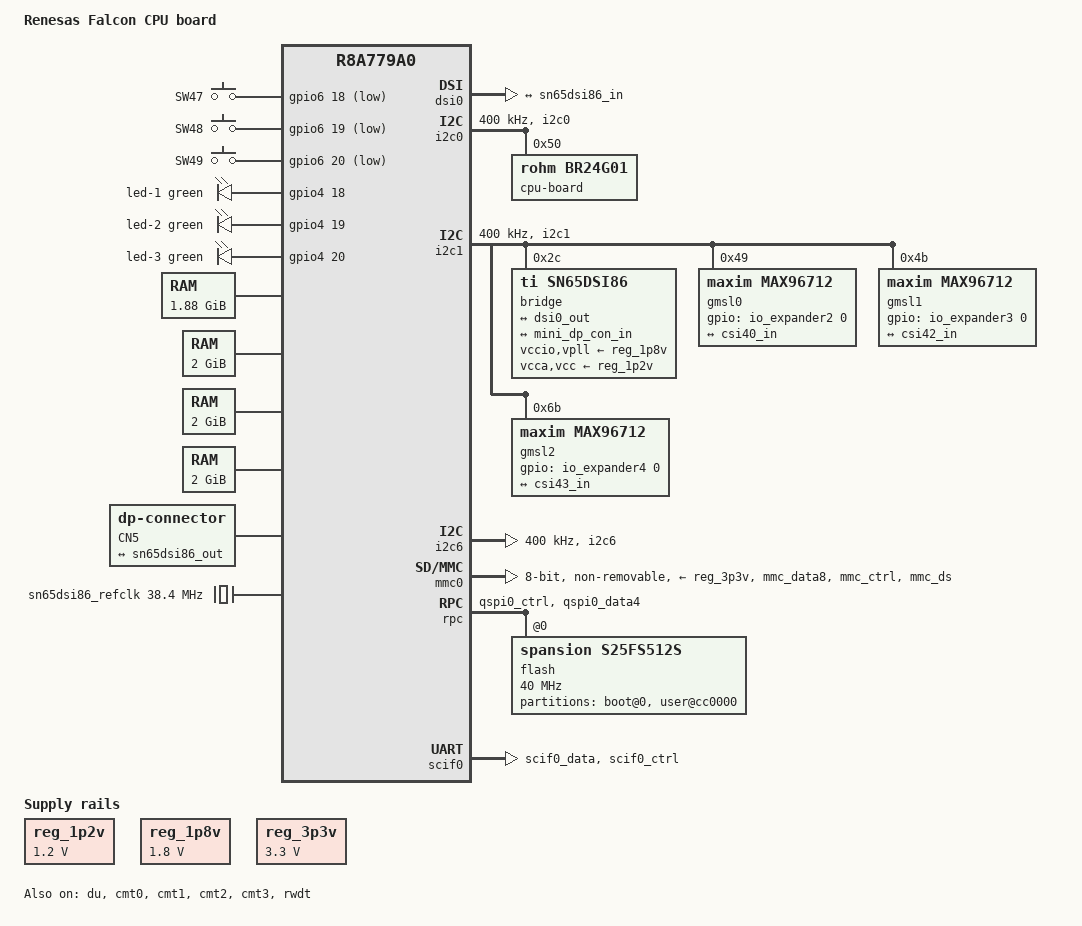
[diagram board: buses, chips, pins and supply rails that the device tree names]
// SPDX-License-Identifier: GPL-2.0
/*
 * Device Tree Source for the Falcon CPU board
 *
 * Copyright (C) 2020 Renesas Electronics Corp.
 */

#include <dt-bindings/gpio/gpio.h>
#include <dt-bindings/input/input.h>
#include <dt-bindings/leds/common.h>

#include "r8a779a0.dtsi"

/ {
	model = "Renesas Falcon CPU board";
	compatible = "renesas,falcon-cpu", "renesas,r8a779a0";

	aliases {
		i2c0 = &i2c0;
		i2c1 = &i2c1;
		i2c2 = &i2c2;
		i2c3 = &i2c3;
		i2c4 = &i2c4;
		i2c5 = &i2c5;
		i2c6 = &i2c6;
		serial0 = &scif0;
	};

	chosen {
		stdout-path = "serial0:115200n8";
	};

	keys {
		compatible = "gpio-keys";

		pinctrl-0 = <&keys_pins>;
		pinctrl-names = "default";

		key-1 {
			gpios = <&gpio6 18 GPIO_ACTIVE_LOW>;
			linux,code = <KEY_1>;
			label = "SW47";
			wakeup-source;
			debounce-interval = <20>;
		};

		key-2 {
			gpios = <&gpio6 19 GPIO_ACTIVE_LOW>;
			linux,code = <KEY_2>;
			label = "SW48";
			wakeup-source;
			debounce-interval = <20>;
		};

		key-3 {
			gpios = <&gpio6 20 GPIO_ACTIVE_LOW>;
			linux,code = <KEY_3>;
			label = "SW49";
			wakeup-source;
			debounce-interval = <20>;
		};
	};

	leds {
		compatible = "gpio-leds";

		led-1 {
			gpios = <&gpio4 18 GPIO_ACTIVE_HIGH>;
			color = <LED_COLOR_ID_GREEN>;
			function = LED_FUNCTION_INDICATOR;
			function-enumerator = <1>;
		};
		led-2 {
			gpios = <&gpio4 19 GPIO_ACTIVE_HIGH>;
			color = <LED_COLOR_ID_GREEN>;
			function = LED_FUNCTION_INDICATOR;
			function-enumerator = <2>;
		};
		led-3 {
			gpios = <&gpio4 20 GPIO_ACTIVE_HIGH>;
			color = <LED_COLOR_ID_GREEN>;
			function = LED_FUNCTION_INDICATOR;
			function-enumerator = <3>;
		};
	};

	memory@48000000 {
		device_type = "memory";
		/* first 128MB is reserved for secure area. */
		reg = <0x0 0x48000000 0x0 0x78000000>;
	};

	memory@500000000 {
		device_type = "memory";
		reg = <0x5 0x00000000 0x0 0x80000000>;
	};

	memory@600000000 {
		device_type = "memory";
		reg = <0x6 0x00000000 0x0 0x80000000>;
	};

	memory@700000000 {
		device_type = "memory";
		reg = <0x7 0x00000000 0x0 0x80000000>;
	};

	reserved-memory {
		#address-cells = <2>;
		#size-cells = <2>;
		ranges;

		/* global autoconfigured region for contiguous allocations */
		linux,cma@58000000 {
			compatible = "shared-dma-pool";
			reusable;
			reg = <0x00000000 0x58000000 0x0 0x18000000>;
			linux,cma-default;
		};
	};

	mini-dp-con {
		compatible = "dp-connector";
		label = "CN5";
		type = "mini";

		port {
			mini_dp_con_in: endpoint {
				remote-endpoint = <&sn65dsi86_out>;
			};
		};
	};

	reg_1p2v: regulator-1p2v {
		compatible = "regulator-fixed";
		regulator-name = "fixed-1.2V";
		regulator-min-microvolt = <1200000>;
		regulator-max-microvolt = <1200000>;
		regulator-boot-on;
		regulator-always-on;
	};

	reg_1p8v: regulator-1p8v {
		compatible = "regulator-fixed";
		regulator-name = "fixed-1.8V";
		regulator-min-microvolt = <1800000>;
		regulator-max-microvolt = <1800000>;
		regulator-boot-on;
		regulator-always-on;
	};

	reg_3p3v: regulator-3p3v {
		compatible = "regulator-fixed";
		regulator-name = "fixed-3.3V";
		regulator-min-microvolt = <3300000>;
		regulator-max-microvolt = <3300000>;
		regulator-boot-on;
		regulator-always-on;
	};

	sn65dsi86_refclk: clk-x6 {
		compatible = "fixed-clock";
		#clock-cells = <0>;
		clock-frequency = <38400000>;
	};
};

&dsi0 {
	status = "okay";

	ports {
		port@1 {
			dsi0_out: endpoint {
				remote-endpoint = <&sn65dsi86_in>;
				data-lanes = <1 2 3 4>;
			};
		};
	};
};

&du {
	status = "okay";
};

&extal_clk {
	clock-frequency = <16666666>;
};

&extalr_clk {
	clock-frequency = <32768>;
};

&i2c0 {
	pinctrl-0 = <&i2c0_pins>;
	pinctrl-names = "default";

	status = "okay";
	clock-frequency = <400000>;

	eeprom@50 {
		compatible = "rohm,br24g01", "atmel,24c01";
		label = "cpu-board";
		reg = <0x50>;
		pagesize = <8>;
	};
};

&i2c1 {
	pinctrl-0 = <&i2c1_pins>;
	pinctrl-names = "default";

	status = "okay";
	clock-frequency = <400000>;

	bridge@2c {
		pinctrl-0 = <&irq0_pins>;
		pinctrl-names = "default";

		compatible = "ti,sn65dsi86";
		reg = <0x2c>;

		clocks = <&sn65dsi86_refclk>;
		clock-names = "refclk";

		interrupt-parent = <&intc_ex>;
		interrupts = <0 IRQ_TYPE_LEVEL_HIGH>;

		vccio-supply = <&reg_1p8v>;
		vpll-supply = <&reg_1p8v>;
		vcca-supply = <&reg_1p2v>;
		vcc-supply = <&reg_1p2v>;

		ports {
			#address-cells = <1>;
			#size-cells = <0>;

			port@0 {
				reg = <0>;
				sn65dsi86_in: endpoint {
					remote-endpoint = <&dsi0_out>;
				};
			};

			port@1 {
				reg = <1>;
				sn65dsi86_out: endpoint {
					remote-endpoint = <&mini_dp_con_in>;
				};
			};
		};
	};

	gmsl0: gmsl-deserializer@49 {
		gpio-controller;
		#gpio-cells = <2>;

		compatible = "maxim,max96712";
		reg = <0x49>, <0x01>, <0x02>, <0x03>, <0x04>;
		gpios = <&io_expander2 0 GPIO_ACTIVE_HIGH>;

		ports {
			#address-cells = <1>;
			#size-cells = <0>;

			port@0 {
				reg = <0>;
				max96712_in0: endpoint {
				};
			};

			port@1 {
				reg = <1>;
				max96712_in1: endpoint {
				};
			};

			port@2 {
				reg = <2>;
				max96712_in2: endpoint {
				};
			};

			port@3 {
				reg = <3>;
				max96712_in3: endpoint {
				};
			};

			port@4 {
				reg = <4>;
				max96712_out0: endpoint {
					clock-lanes = <0>;
					data-lanes = <1 2 3 4>;
					remote-endpoint = <&csi40_in>;
				};
			};
		};

		i2c-mux {
			#address-cells = <1>;
			#size-cells = <0>;

			i2c@0 {
				#address-cells = <1>;
				#size-cells = <0>;
				reg = <0>;

				status = "disabled";
			};

			i2c@1 {
				#address-cells = <1>;
				#size-cells = <0>;
				reg = <1>;

				status = "disabled";
			};

			i2c@2 {
				#address-cells = <1>;
				#size-cells = <0>;
				reg = <2>;

				status = "disabled";
			};

			i2c@3 {
				#address-cells = <1>;
				#size-cells = <0>;
				reg = <3>;

				status = "disabled";
			};
		};
	};

	gmsl1: gmsl-deserializer@4b {
		gpio-controller;
		#gpio-cells = <2>;

		compatible = "maxim,max96712";
		reg = <0x4b>, <0x05>, <0x06>, <0x07>, <0x08>;
		gpios = <&io_expander3 0 GPIO_ACTIVE_HIGH>;
		maxim,invert_phy-pol;

		ports {
			#address-cells = <1>;
			#size-cells = <0>;

			port@0 {
				reg = <0>;
				max96712_in4: endpoint {
				};
			};

			port@1 {
				reg = <1>;
				max96712_in5: endpoint {
				};
			};

			port@2 {
				reg = <2>;
				max96712_in6: endpoint {
				};
			};

			port@3 {
				reg = <3>;
				max96712_in7: endpoint {
				};
			};

			port@4 {
				reg = <4>;
				max96712_out1: endpoint {
					clock-lanes = <0>;
					data-lanes = <1 2 3 4>;
					remote-endpoint = <&csi42_in>;
				};
			};
		};

		i2c-mux {
			#address-cells = <1>;
			#size-cells = <0>;

			i2c@0 {
				#address-cells = <1>;
				#size-cells = <0>;
				reg = <0>;

				status = "disabled";
			};

			i2c@1 {
				#address-cells = <1>;
				#size-cells = <0>;
				reg = <1>;

				status = "disabled";
			};

			i2c@2 {
				#address-cells = <1>;
				#size-cells = <0>;
				reg = <2>;

				status = "disabled";
			};

			i2c@3 {
				#address-cells = <1>;
				#size-cells = <0>;
				reg = <3>;

				status = "disabled";
			};
		};
	};

	gmsl2: gmsl-deserializer@6b {
		gpio-controller;
		#gpio-cells = <2>;

		compatible = "maxim,max96712";
		reg = <0x6b>, <0x09>, <0x0a>, <0x0b>, <0x0c>;
		gpios = <&io_expander4 0 GPIO_ACTIVE_HIGH>;
		maxim,invert_phy-pol;

		ports {
			#address-cells = <1>;
			#size-cells = <0>;

			port@0 {
				reg = <0>;
				max96712_in8: endpoint {
				};
			};

			port@1 {
				reg = <1>;
				max96712_in9: endpoint {
				};
			};

			port@2 {
				reg = <2>;
				max96712_in10: endpoint {
				};
			};

			port@3 {
				reg = <3>;
				max96712_in11: endpoint {
				};
			};

			port@4 {
				reg = <4>;
				max96712_out2: endpoint {
					clock-lanes = <0>;
					data-lanes = <1 2 3 4>;
					remote-endpoint = <&csi43_in>;
				};
			};
		};

		i2c-mux {
			#address-cells = <1>;
			#size-cells = <0>;

			i2c@0 {
				#address-cells = <1>;
				#size-cells = <0>;
				reg = <0>;

				status = "disabled";
			};

			i2c@1 {
				#address-cells = <1>;
				#size-cells = <0>;
				reg = <1>;

				status = "disabled";
			};

			i2c@2 {
				#address-cells = <1>;
				#size-cells = <0>;
				reg = <2>;

				status = "disabled";
			};

			i2c@3 {
				#address-cells = <1>;
				#size-cells = <0>;
				reg = <3>;

				status = "disabled";
			};
		};
	};
};

&i2c6 {
	pinctrl-0 = <&i2c6_pins>;
	pinctrl-names = "default";

	status = "okay";
	clock-frequency = <400000>;
};

&mmc0 {
	pinctrl-0 = <&mmc_pins>;
	pinctrl-1 = <&mmc_pins>;
	pinctrl-names = "default", "state_uhs";

	iommus = <&ipmmu_ds0 32>;

	vmmc-supply = <&reg_3p3v>;
	vqmmc-supply = <&reg_1p8v>;
	mmc-hs200-1_8v;
	mmc-hs400-1_8v;
	bus-width = <8>;
	no-sd;
	no-sdio;
	non-removable;
	full-pwr-cycle-in-suspend;
	status = "okay";
};

&pfc {
	pinctrl-0 = <&scif_clk_pins>;
	pinctrl-names = "default";

	i2c0_pins: i2c0 {
		groups = "i2c0";
		function = "i2c0";
	};

	i2c1_pins: i2c1 {
		groups = "i2c1";
		function = "i2c1";
	};

	i2c6_pins: i2c6 {
		groups = "i2c6";
		function = "i2c6";
	};

	irq0_pins: irq0 {
		groups = "intc_ex_irq0";
		function = "intc_ex";
	};

	keys_pins: keys {
		pins = "GP_6_18", "GP_6_19", "GP_6_20";
		bias-pull-up;
	};

	mmc_pins: mmc {
		groups = "mmc_data8", "mmc_ctrl", "mmc_ds";
		function = "mmc";
		power-source = <1800>;
	};

	qspi0_pins: qspi0 {
		groups = "qspi0_ctrl", "qspi0_data4";
		function = "qspi0";
	};

	scif0_pins: scif0 {
		groups = "scif0_data", "scif0_ctrl";
		function = "scif0";
	};

	scif_clk_pins: scif_clk {
		groups = "scif_clk";
		function = "scif_clk";
	};
};

&rpc {
	pinctrl-0 = <&qspi0_pins>;
	pinctrl-names = "default";

	status = "okay";

	flash@0 {
		compatible = "spansion,s25fs512s", "jedec,spi-nor";
		reg = <0>;
		spi-max-frequency = <40000000>;
		spi-rx-bus-width = <4>;

		partitions {
			compatible = "fixed-partitions";
			#address-cells = <1>;
			#size-cells = <1>;

			boot@0 {
				reg = <0x0 0xcc0000>;
				read-only;
			};
			user@cc0000 {
				reg = <0xcc0000 0x3340000>;
			};
		};
	};
};

&cmt0 {
	status = "okay";
};

&cmt1 {
	status = "okay";
};

&cmt2 {
	status = "okay";
};

&cmt3 {
	status = "okay";
};

&rwdt {
	timeout-sec = <60>;
	status = "okay";
};

&scif0 {
	pinctrl-0 = <&scif0_pins>;
	pinctrl-names = "default";

	uart-has-rtscts;
	status = "okay";
};

&scif_clk {
	clock-frequency = <24000000>;
};
